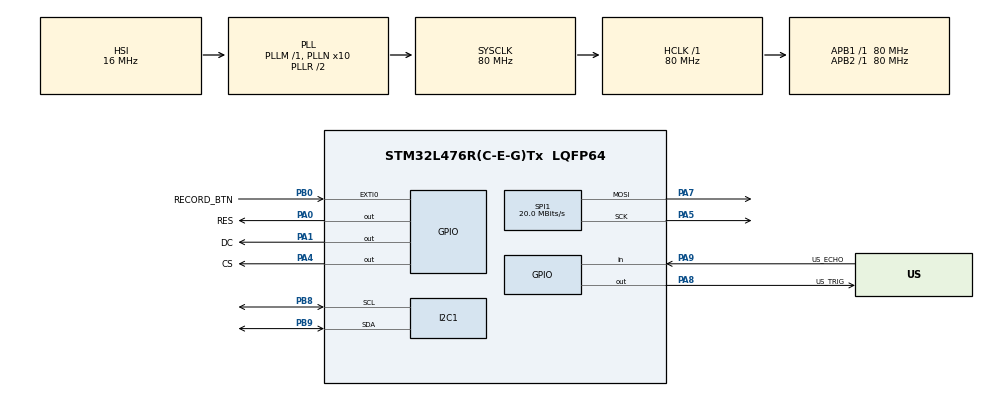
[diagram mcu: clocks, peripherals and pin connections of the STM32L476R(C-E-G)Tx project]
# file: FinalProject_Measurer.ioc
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I2C1.Timing=0x10D19CE4
Mcu.Family=STM32L4
Mcu.Name=STM32L476R(C-E-G)Tx
Mcu.Package=LQFP64
NVIC.EXTI0_IRQn=true\:0\:0\:false\:false\:true\:true\:true\:true
NVIC.PriorityGroup=NVIC_PRIORITYGROUP_4
PA0.GPIO_Label=RES
PA0.PinState=GPIO_PIN_SET
PA0.Signal=GPIO_Output
PA1.GPIO_Label=DC
PA1.Signal=GPIO_Output
PA4.GPIO_Label=CS
PA4.PinState=GPIO_PIN_SET
PA4.Signal=GPIO_Output
PA5.Mode=TX_Only_Simplex_Unidirect_Master
PA5.Signal=SPI1_SCK
PA7.Mode=TX_Only_Simplex_Unidirect_Master
PA7.Signal=SPI1_MOSI
PA8.GPIO_Label=US_TRIG
PA8.GPIO_PuPd=GPIO_NOPULL
PA8.Signal=GPIO_Output
PA9.GPIO_Label=US_ECHO
PA9.GPIO_PuPd=GPIO_NOPULL
PA9.Signal=GPIO_Input
PB0.GPIO_Label=RECORD_BTN
PB0.GPIO_ModeDefaultEXTI=GPIO_MODE_IT_FALLING
PB0.GPIO_PuPd=GPIO_PULLUP
PB0.Signal=GPXTI0
PB8.GPIO_Pu=GPIO_PULLUP
PB8.Mode=I2C
PB8.Signal=I2C1_SCL
PB9.GPIO_Pu=GPIO_PULLUP
PB9.Mode=I2C
PB9.Signal=I2C1_SDA
ProjectManager.HeapSize=0x200
ProjectManager.StackSize=0x400
ProjectManager.TargetToolchain=STM32CubeIDE
RCC.ADCFreq_Value=64000000
RCC.AHBFreq_Value=80000000
RCC.APB1Freq_Value=80000000
RCC.APB1TimFreq_Value=80000000
RCC.APB2Freq_Value=80000000
RCC.APB2TimFreq_Value=80000000
RCC.CortexFreq_Value=80000000
RCC.HCLKFreq_Value=80000000
RCC.HSE_VALUE=8000000
RCC.HSI_VALUE=16000000
RCC.LSE_VALUE=32768
RCC.MSI_VALUE=4000000
RCC.PLLN=10
RCC.PLLSourceVirtual=RCC_PLLSOURCE_HSI
RCC.PREFETCH_ENABLE=1
RCC.SYSCLKFreq_VALUE=80000000
RCC.SYSCLKSource=RCC_SYSCLKSOURCE_PLLCLK
RCC.USBFreq_Value=64000000
RCC.VCOOutputFreq_Value=160000000
SPI1.BaudRatePrescaler=SPI_BAUDRATEPRESCALER_4
SPI1.CalculateBaudRate=20.0 MBits/s
SPI1.DataSize=SPI_DATASIZE_8BIT
SPI1.Direction=SPI_DIRECTION_2LINES
SPI1.Mode=SPI_MODE_MASTER
SPI1.VirtualType=VM_MASTER
TIM4.Prescaler=79
VP_TIM4_VS_ClockSourceINT.Mode=Internal
board=NUCLEO-L476RG

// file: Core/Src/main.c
/* USER CODE BEGIN Header */
/**
 ******************************************************************************
 * @file           : main.c
 * @brief          : Main program body
 ******************************************************************************
 * @attention
 *
 * Copyright (c) 2026 STMicroelectronics.
 * All rights reserved.
 *
 * This software is licensed under terms that can be found in the LICENSE file
 * in the root directory of this software component.
 * If no LICENSE file comes with this software, it is provided AS-IS.
 *
 ******************************************************************************
 */
/* USER CODE END Header */
#include "main.h"

/* USER CODE BEGIN Includes */

#include <stdio.h>
#include "font.h"
#include <string.h>

/* USER CODE END Includes */

/* USER CODE BEGIN PM */

// Display dimensions
#define NUMROWS 160
#define NUMCOLS 128
// Common 16-bit RGB colors: bbbbb gggggg rrrrr
#define BLACK 0x0000 // 00000 000000 00000
#define WHITE 0xFFFF // 11111 111111 11111 (red + green + blue)
#define RED 0x001F // 00000 000000 11111
#define GREEN 0x07E0 // 00000 111111 00000
#define BLUE 0xF800 // 11111 000000 00000
#define CYAN 0xFFE0 // 11111 111111 00000 (green + blue)
#define MAGENTA 0xF81F // 11111 000000 11111 (red + blue)
#define YELLOW 0x07FF // 00000 111111 11111 (red + green)
#define ORANGE 0x041F // 00000 100000 11111 (red + 50% green)
#define PURPLE 0x8010 // 10000 000000 10000 (50% red + 50% blue)
#define GRAY 0x8410 // 10000 100000 10000 (50% red + 50% green + 50% blue)
#define LIGHTGRAY 0xC618 // 11000 110000 11000 (75% red + 75% green + 75% blue)
#define DARKGRAY 0x4208 // 01000 010000 01000 (25% red + 25% green + 25% blue)

// ST7735 command codes
#define SWRESET 0x01
#define SLPOUT 0x11
#define COLMOD 0x3A
#define MADCTL 0x36
#define DISPON 0x29
#define CASET 0x2A
#define RASET 0x2B
#define RAMWR 0x2C
#define COLOR_MODE_16BIT 0x05
#define MADCTL_DEFAULT 0xC8

/* USER CODE END PM */

I2C_HandleTypeDef hi2c1;

SPI_HandleTypeDef hspi1;

TIM_HandleTypeDef htim4;

/* USER CODE BEGIN PV */

#define TRIG_PIN  US_TRIG_Pin
#define TRIG_PORT US_TRIG_GPIO_Port

#define ECHO_PIN  US_ECHO_Pin
#define ECHO_PORT US_ECHO_GPIO_Port

uint16_t Distance = 0;  // cm
uint16_t Ultrasonic_ReadDistanceCm(void);
uint16_t cursor_x = 0;
uint16_t cursor_y = 0;

volatile uint8_t record_request = 0;

uint16_t recorded_distance = 0;

char record_buffer[16];

char buffer[16];

/* USER CODE END PV */

void SystemClock_Config(void);
static void MX_GPIO_Init(void);
static void MX_I2C1_Init(void);
static void MX_TIM4_Init(void);
static void MX_SPI1_Init(void);
/* USER CODE BEGIN PFP */

void ST7735_WriteData(uint8_t data[], uint16_t size);
void ST7735_WriteCommand(uint8_t cmd);
void ST7735_Init(void);
void ST7735_DrawPixel(uint8_t x, uint8_t y, uint16_t color);
void ST7735_DrawScreen(uint16_t frame[NUMROWS][NUMCOLS]);
void ST7735_UpdateCharCursor(uint16_t x, uint16_t y);
void ST7735_PrintChar(char character);
void ST7735_PrintString(const char *string);
void ST7735_SetAddressWindow(uint16_t xStart, uint16_t yStart, uint16_t xEnd, uint16_t yEnd);
void ST7735_FillScreen(uint16_t color);

void ST7735_DrawCharScaled(char character, uint16_t x, uint16_t y, uint8_t scale);
void ST7735_PrintStringScaled(const char *string, uint16_t x, uint16_t y, uint8_t scale);

/* USER CODE END PFP */

int main(void)
{

  /* MCU Configuration--------------------------------------------------------*/

  /* Reset of all peripherals, Initializes the Flash interface and the Systick. */
  HAL_Init();

  /* Configure the system clock */
  SystemClock_Config();

  /* Initialize all configured peripherals */
  MX_GPIO_Init();
  MX_I2C1_Init();
  MX_TIM4_Init();
  MX_SPI1_Init();
  /* USER CODE BEGIN 2 */

  ST7735_Init();
  ST7735_FillScreen(BLACK);

  for (uint16_t x = 0; x < NUMCOLS; x++)
  {
      ST7735_DrawPixel((uint8_t)x, 106, WHITE);
  }

  HAL_TIM_Base_Start(&htim4);

  HAL_GPIO_WritePin(TRIG_PORT,
                    TRIG_PIN,
                    GPIO_PIN_RESET);

//	HAL_TIM_Base_Start(&htim4);
//	HAL_GPIO_WritePin(TRIG_PORT, TRIG_PIN, GPIO_PIN_RESET); // pull the TRIG pin low
//	HAL_Delay(2000);

  /* USER CODE END 2 */

  /* Infinite loop */
  /* USER CODE BEGIN WHILE */
  while (1)
  {

	  Distance = Ultrasonic_ReadDistanceCm();

	     /*
	      * Clear the entire large-number area.
	      * Four characters at 4× scale fill the 128-pixel width.
	      */
	     ST7735_PrintStringScaled("    ",
	                              0,
	                              25,
	                              4);

	     if (Distance == 0)
	     {
	         snprintf(buffer,
	                  sizeof(buffer),
	                  "---");
	     }
	     else
	     {
	         snprintf(buffer,
	                  sizeof(buffer),
	                  "%u",
	                  (unsigned int)Distance);
	     }

	     /*
	      * Center the number.
	      * Each 4× character is 32 pixels wide.
	      */
	     uint16_t number_width =
	         strlen(buffer) * 32;

	     uint16_t number_x =
	         (NUMCOLS - number_width) / 2;

	     ST7735_PrintStringScaled(buffer,
	                              number_x,
	                              25,
	                              4);

	     /*
	      * Display the unit below the large number.
	      * "cm" at 2× scale is 32 pixels wide.
	      */
	     ST7735_PrintStringScaled("cm",
	                              48,
	                              65,
	                              2);

	     if (record_request == 1)
	     {
	         record_request = 0;

	         recorded_distance = Distance;

	         if (recorded_distance == 0)
	         {
	             snprintf(record_buffer,
	                      sizeof(record_buffer),
	                      "--- cm");
	         }
	         else
	         {
	             snprintf(record_buffer,
	                      sizeof(record_buffer),
	                      "%3u cm",
	                      (unsigned int)recorded_distance);
	         }

	         /*
	          * Clear the saved-measurement area.
	          */
	         ST7735_PrintStringScaled("      ",
	                                  16,
	                                  125,
	                                  2);

	         /*
	          * Display the saved measurement.
	          */
	         ST7735_PrintStringScaled(record_buffer,
	                                  16,
	                                  125,
	                                  2);
	     }

	     HAL_Delay(100);

//	  Distance = Ultrasonic_ReadDistanceCm();
//
//	     LCD_SetCursor(0, 0);
//	     LCD_Print("                ");
//
//	     LCD_SetCursor(0, 0);
//
//	     if (Distance == 0)
//	     {
//	         LCD_Print("No echo");
//	     }
//	     else
//	     {
//	         snprintf(buffer,
//	                  sizeof(buffer),
//	                  "%u cm",
//	                  Distance);
//
//	         LCD_Print(buffer);
//	     }

	     HAL_Delay(100);

    /* USER CODE END WHILE */

  }
}

void SystemClock_Config(void)
{
  RCC_OscInitTypeDef RCC_OscInitStruct = {0};
  RCC_ClkInitTypeDef RCC_ClkInitStruct = {0};

  /** Configure the main internal regulator output voltage
  */
  if (HAL_PWREx_ControlVoltageScaling(PWR_REGULATOR_VOLTAGE_SCALE1) != HAL_OK)
  {
    Error_Handler();
  }

  /** Initializes the RCC Oscillators according to the specified parameters
  * in the RCC_OscInitTypeDef structure.
  */
  RCC_OscInitStruct.OscillatorType = RCC_OSCILLATORTYPE_HSI;
  RCC_OscInitStruct.HSIState = RCC_HSI_ON;
  RCC_OscInitStruct.HSICalibrationValue = RCC_HSICALIBRATION_DEFAULT;
  RCC_OscInitStruct.PLL.PLLState = RCC_PLL_ON;
  RCC_OscInitStruct.PLL.PLLSource = RCC_PLLSOURCE_HSI;
  RCC_OscInitStruct.PLL.PLLM = 1;
  RCC_OscInitStruct.PLL.PLLN = 10;
  RCC_OscInitStruct.PLL.PLLP = RCC_PLLP_DIV7;
  RCC_OscInitStruct.PLL.PLLQ = RCC_PLLQ_DIV2;
  RCC_OscInitStruct.PLL.PLLR = RCC_PLLR_DIV2;
  if (HAL_RCC_OscConfig(&RCC_OscInitStruct) != HAL_OK)
  {
    Error_Handler();
  }

  /** Initializes the CPU, AHB and APB buses clocks
  */
  RCC_ClkInitStruct.ClockType = RCC_CLOCKTYPE_HCLK|RCC_CLOCKTYPE_SYSCLK
                              |RCC_CLOCKTYPE_PCLK1|RCC_CLOCKTYPE_PCLK2;
  RCC_ClkInitStruct.SYSCLKSource = RCC_SYSCLKSOURCE_PLLCLK;
  RCC_ClkInitStruct.AHBCLKDivider = RCC_SYSCLK_DIV1;
  RCC_ClkInitStruct.APB1CLKDivider = RCC_HCLK_DIV1;
  RCC_ClkInitStruct.APB2CLKDivider = RCC_HCLK_DIV1;

  if (HAL_RCC_ClockConfig(&RCC_ClkInitStruct, FLASH_LATENCY_4) != HAL_OK)
  {
    Error_Handler();
  }
}

static void MX_I2C1_Init(void)
{

  hi2c1.Instance = I2C1;
  hi2c1.Init.Timing = 0x10D19CE4;
  hi2c1.Init.OwnAddress1 = 0;
  hi2c1.Init.AddressingMode = I2C_ADDRESSINGMODE_7BIT;
  hi2c1.Init.DualAddressMode = I2C_DUALADDRESS_DISABLE;
  hi2c1.Init.OwnAddress2 = 0;
  hi2c1.Init.OwnAddress2Masks = I2C_OA2_NOMASK;
  hi2c1.Init.GeneralCallMode = I2C_GENERALCALL_DISABLE;
  hi2c1.Init.NoStretchMode = I2C_NOSTRETCH_DISABLE;
  if (HAL_I2C_Init(&hi2c1) != HAL_OK)
  {
    Error_Handler();
  }

  /** Configure Analogue filter
  */
  if (HAL_I2CEx_ConfigAnalogFilter(&hi2c1, I2C_ANALOGFILTER_ENABLE) != HAL_OK)
  {
    Error_Handler();
  }

  /** Configure Digital filter
  */
  if (HAL_I2CEx_ConfigDigitalFilter(&hi2c1, 0) != HAL_OK)
  {
    Error_Handler();
  }

}

static void MX_SPI1_Init(void)
{

  /* SPI1 parameter configuration*/
  hspi1.Instance = SPI1;
  hspi1.Init.Mode = SPI_MODE_MASTER;
  hspi1.Init.Direction = SPI_DIRECTION_2LINES;
  hspi1.Init.DataSize = SPI_DATASIZE_8BIT;
  hspi1.Init.CLKPolarity = SPI_POLARITY_LOW;
  hspi1.Init.CLKPhase = SPI_PHASE_1EDGE;
  hspi1.Init.NSS = SPI_NSS_SOFT;
  hspi1.Init.BaudRatePrescaler = SPI_BAUDRATEPRESCALER_4;
  hspi1.Init.FirstBit = SPI_FIRSTBIT_MSB;
  hspi1.Init.TIMode = SPI_TIMODE_DISABLE;
  hspi1.Init.CRCCalculation = SPI_CRCCALCULATION_DISABLE;
  hspi1.Init.CRCPolynomial = 7;
  hspi1.Init.CRCLength = SPI_CRC_LENGTH_DATASIZE;
  hspi1.Init.NSSPMode = SPI_NSS_PULSE_ENABLE;
  if (HAL_SPI_Init(&hspi1) != HAL_OK)
  {
    Error_Handler();
  }

}

static void MX_TIM4_Init(void)
{

  TIM_ClockConfigTypeDef sClockSourceConfig = {0};
  TIM_MasterConfigTypeDef sMasterConfig = {0};

  htim4.Instance = TIM4;
  htim4.Init.Prescaler = 79;
  htim4.Init.CounterMode = TIM_COUNTERMODE_UP;
  htim4.Init.Period = 65535;
  htim4.Init.ClockDivision = TIM_CLOCKDIVISION_DIV1;
  htim4.Init.AutoReloadPreload = TIM_AUTORELOAD_PRELOAD_DISABLE;
  if (HAL_TIM_Base_Init(&htim4) != HAL_OK)
  {
    Error_Handler();
  }
  sClockSourceConfig.ClockSource = TIM_CLOCKSOURCE_INTERNAL;
  if (HAL_TIM_ConfigClockSource(&htim4, &sClockSourceConfig) != HAL_OK)
  {
    Error_Handler();
  }
  sMasterConfig.MasterOutputTrigger = TIM_TRGO_RESET;
  sMasterConfig.MasterSlaveMode = TIM_MASTERSLAVEMODE_DISABLE;
  if (HAL_TIMEx_MasterConfigSynchronization(&htim4, &sMasterConfig) != HAL_OK)
  {
    Error_Handler();
  }

}

static void MX_GPIO_Init(void)
{
  GPIO_InitTypeDef GPIO_InitStruct = {0};

  /* GPIO Ports Clock Enable */
  __HAL_RCC_GPIOA_CLK_ENABLE();
  __HAL_RCC_GPIOB_CLK_ENABLE();

  /*Configure GPIO pin Output Level */
  HAL_GPIO_WritePin(GPIOA, RES_Pin|CS_Pin, GPIO_PIN_SET);

  /*Configure GPIO pin Output Level */
  HAL_GPIO_WritePin(GPIOA, DC_Pin|US_TRIG_Pin, GPIO_PIN_RESET);

  /*Configure GPIO pins : RES_Pin DC_Pin CS_Pin US_TRIG_Pin */
  GPIO_InitStruct.Pin = RES_Pin|DC_Pin|CS_Pin|US_TRIG_Pin;
  GPIO_InitStruct.Mode = GPIO_MODE_OUTPUT_PP;
  GPIO_InitStruct.Pull = GPIO_NOPULL;
  GPIO_InitStruct.Speed = GPIO_SPEED_FREQ_LOW;
  HAL_GPIO_Init(GPIOA, &GPIO_InitStruct);

  /*Configure GPIO pin : RECORD_BTN_Pin */
  GPIO_InitStruct.Pin = RECORD_BTN_Pin;
  GPIO_InitStruct.Mode = GPIO_MODE_IT_FALLING;
  GPIO_InitStruct.Pull = GPIO_PULLUP;
  HAL_GPIO_Init(RECORD_BTN_GPIO_Port, &GPIO_InitStruct);

  /*Configure GPIO pin : US_ECHO_Pin */
  GPIO_InitStruct.Pin = US_ECHO_Pin;
  GPIO_InitStruct.Mode = GPIO_MODE_INPUT;
  GPIO_InitStruct.Pull = GPIO_NOPULL;
  HAL_GPIO_Init(US_ECHO_GPIO_Port, &GPIO_InitStruct);

  /* EXTI interrupt init*/
  HAL_NVIC_SetPriority(EXTI0_IRQn, 0, 0);
  HAL_NVIC_EnableIRQ(EXTI0_IRQn);

}

/* USER CODE BEGIN 4 */

void ST7735_WriteData(uint8_t data[], uint16_t size)
{
    HAL_GPIO_WritePin(DC_GPIO_Port,
                      DC_Pin,
                      GPIO_PIN_SET);

    HAL_GPIO_WritePin(CS_GPIO_Port,
                      CS_Pin,
                      GPIO_PIN_RESET);

    HAL_SPI_Transmit(&hspi1,
                     data,
                     size,
                     HAL_MAX_DELAY);

    HAL_GPIO_WritePin(CS_GPIO_Port,
                      CS_Pin,
                      GPIO_PIN_SET);
}

void ST7735_WriteCommand(uint8_t cmd)
{
    HAL_GPIO_WritePin(DC_GPIO_Port,
                      DC_Pin,
                      GPIO_PIN_RESET);

    HAL_GPIO_WritePin(CS_GPIO_Port,
                      CS_Pin,
                      GPIO_PIN_RESET);

    HAL_SPI_Transmit(&hspi1,
                     &cmd,
                     1,
                     HAL_MAX_DELAY);

    HAL_GPIO_WritePin(CS_GPIO_Port,
                      CS_Pin,
                      GPIO_PIN_SET);
}

void ST7735_Init(void)
{
    uint8_t data;

    HAL_GPIO_WritePin(CS_GPIO_Port,
                      CS_Pin,
                      GPIO_PIN_SET);

    HAL_GPIO_WritePin(RES_GPIO_Port,
                      RES_Pin,
                      GPIO_PIN_RESET);

    HAL_Delay(5);

    HAL_GPIO_WritePin(RES_GPIO_Port,
                      RES_Pin,
                      GPIO_PIN_SET);

    HAL_Delay(5);

    ST7735_WriteCommand(SWRESET);
    HAL_Delay(150);

    ST7735_WriteCommand(SLPOUT);
    HAL_Delay(150);

    ST7735_WriteCommand(COLMOD);

    data = COLOR_MODE_16BIT;
    ST7735_WriteData(&data, 1);

    ST7735_WriteCommand(MADCTL);

    data = MADCTL_DEFAULT;
    ST7735_WriteData(&data, 1);

    ST7735_WriteCommand(DISPON);
    HAL_Delay(10);
}

void ST7735_SetAddressWindow(uint16_t xStart,
                             uint16_t yStart,
                             uint16_t xEnd,
                             uint16_t yEnd)
{
    uint8_t address[4];

    if (xStart > xEnd ||
        yStart > yEnd ||
        xEnd >= NUMCOLS ||
        yEnd >= NUMROWS)
    {
        return;
    }

    xStart += 2;
    xEnd   += 2;
    yStart += 1;
    yEnd   += 1;

    ST7735_WriteCommand(CASET);

    address[0] = xStart >> 8;
    address[1] = xStart & 0xFF;
    address[2] = xEnd >> 8;
    address[3] = xEnd & 0xFF;

    ST7735_WriteData(address, 4);

    ST7735_WriteCommand(RASET);

    address[0] = yStart >> 8;
    address[1] = yStart & 0xFF;
    address[2] = yEnd >> 8;
    address[3] = yEnd & 0xFF;

    ST7735_WriteData(address, 4);

    ST7735_WriteCommand(RAMWR);
}

void ST7735_DrawPixel(uint8_t x,
                      uint8_t y,
                      uint16_t color)
{
    uint8_t pixelData[2];

    if (x >= NUMCOLS || y >= NUMROWS)
    {
        return;
    }

    ST7735_SetAddressWindow(x, y, x, y);

    pixelData[0] = color >> 8;
    pixelData[1] = color & 0xFF;

    ST7735_WriteData(pixelData, 2);
}

void ST7735_FillScreen(uint16_t color)
{
    uint8_t row_data[NUMCOLS * 2];

    for (uint16_t x = 0; x < NUMCOLS; x++)
    {
        row_data[2 * x]     = color >> 8;
        row_data[2 * x + 1] = color & 0xFF;
    }

    ST7735_SetAddressWindow(0, 0, NUMCOLS - 1, NUMROWS - 1);

    HAL_GPIO_WritePin(DC_GPIO_Port, DC_Pin, GPIO_PIN_SET);
    HAL_GPIO_WritePin(CS_GPIO_Port, CS_Pin, GPIO_PIN_RESET);

    for (uint16_t y = 0; y < NUMROWS; y++)
    {
        HAL_SPI_Transmit(&hspi1,
                         row_data,
                         sizeof(row_data),
                         HAL_MAX_DELAY);
    }

    HAL_GPIO_WritePin(CS_GPIO_Port, CS_Pin, GPIO_PIN_SET);
}

void ST7735_UpdateCharCursor(uint16_t x,
                             uint16_t y)
{
    cursor_x = x;
    cursor_y = y;

    if (cursor_x > NUMCOLS - 8)
    {
        cursor_x = 0;
        cursor_y += 8;
    }

    if (cursor_y > NUMROWS - 9)
    {
        cursor_x = 0;
        cursor_y = 0;
    }
}

void ST7735_PrintChar(char character)
{
    if (character < ' ' || character > '~')
    {
        return;
    }

    int font_index = character - 0x20;
    const uint8_t *character_data = fontTable[font_index];

    uint8_t pixel_data[8 * 8 * 2];
    uint16_t index = 0;

    for (int row = 0; row < 8; row++)
    {
        uint8_t row_data = character_data[row];

        for (int col = 7; col >= 0; col--)
        {
            uint16_t color;

            if (row_data & (1 << col))
            {
                color = WHITE;
            }
            else
            {
                color = BLACK;
            }

            pixel_data[index++] = color >> 8;
            pixel_data[index++] = color & 0xFF;
        }
    }

    ST7735_SetAddressWindow(cursor_x,
                            cursor_y,
                            cursor_x + 7,
                            cursor_y + 7);

    ST7735_WriteData(pixel_data, sizeof(pixel_data));

    ST7735_UpdateCharCursor(cursor_x + 8, cursor_y);
}

void ST7735_PrintString(const char *string)
{
    while (*string != '\0')
    {
        ST7735_PrintChar(*string);
        string++;
    }
}

void ST7735_DrawCharScaled(char character,
                           uint16_t x,
                           uint16_t y,
                           uint8_t scale)
{
    if (character < ' ' || character > '~')
    {
        return;
    }

    if (scale == 0)
    {
        return;
    }

    if (scale > 4)
    {
        scale = 4;
    }

    uint16_t width = 8 * scale;
    uint16_t height = 8 * scale;

    if ((x + width > NUMCOLS) ||
        (y + height > NUMROWS))
    {
        return;
    }

    const uint8_t *character_data =
        fontTable[character - 0x20];

    /*
     * Maximum row size:
     * 8 source pixels × 4 scale × 2 color bytes
     */
    uint8_t row_buffer[8 * 4 * 2];

    ST7735_SetAddressWindow(x,
                            y,
                            x + width - 1,
                            y + height - 1);

    /*
     * Keep CS low while sending the entire character.
     */
    HAL_GPIO_WritePin(DC_GPIO_Port,
                      DC_Pin,
                      GPIO_PIN_SET);

    HAL_GPIO_WritePin(CS_GPIO_Port,
                      CS_Pin,
                      GPIO_PIN_RESET);

    for (int row = 0; row < 8; row++)
    {
        uint8_t source_row = character_data[row];

        for (int repeat_y = 0; repeat_y < scale; repeat_y++)
        {
            uint16_t index = 0;

            for (int col = 7; col >= 0; col--)
            {
                uint16_t color;

                if (source_row & (1U << col))
                {
                    color = WHITE;
                }
                else
                {
                    color = BLACK;
                }

                for (int repeat_x = 0; repeat_x < scale; repeat_x++)
                {
                    row_buffer[index++] = color >> 8;
                    row_buffer[index++] = color & 0xFF;
                }
            }

            HAL_SPI_Transmit(&hspi1,
                             row_buffer,
                             index,
                             HAL_MAX_DELAY);
        }
    }

    HAL_GPIO_WritePin(CS_GPIO_Port,
                      CS_Pin,
                      GPIO_PIN_SET);
}

void ST7735_PrintStringScaled(const char *string,
                              uint16_t x,
                              uint16_t y,
                              uint8_t scale)
{
    if (scale == 0)
    {
        return;
    }

    if (scale > 4)
    {
        scale = 4;
    }

    while ((*string != '\0') &&
           (x + (8 * scale) <= NUMCOLS))
    {
        ST7735_DrawCharScaled(*string,
                              x,
                              y,
                              scale);

        x += 8 * scale;
        string++;
    }
}

uint16_t Ultrasonic_ReadDistanceCm(void)
{
    uint32_t wait_start;
    uint32_t echo_start;
    uint32_t echo_time;

    /*
     * Send a 10-microsecond trigger pulse.
     */
    HAL_GPIO_WritePin(TRIG_PORT,
                      TRIG_PIN,
                      GPIO_PIN_RESET);

    __HAL_TIM_SET_COUNTER(&htim4, 0);

    HAL_GPIO_WritePin(TRIG_PORT,
                      TRIG_PIN,
                      GPIO_PIN_SET);

    while (__HAL_TIM_GET_COUNTER(&htim4) < 10)
    {
        /* Wait 10 microseconds */
    }

    HAL_GPIO_WritePin(TRIG_PORT,
                      TRIG_PIN,
                      GPIO_PIN_RESET);

    /*
     * Wait for Echo to become high.
     */
    wait_start = HAL_GetTick();

    while (HAL_GPIO_ReadPin(ECHO_PORT,
                            ECHO_PIN) == GPIO_PIN_RESET)
    {
        if ((HAL_GetTick() - wait_start) >= 50)
        {
            return 0;
        }
    }

    /*
     * Measure how long Echo remains high.
     */
    echo_start = __HAL_TIM_GET_COUNTER(&htim4);

    wait_start = HAL_GetTick();

    while (HAL_GPIO_ReadPin(ECHO_PORT,
                            ECHO_PIN) == GPIO_PIN_SET)
    {
        if ((HAL_GetTick() - wait_start) >= 50)
        {
            return 0;
        }
    }

    echo_time =
        __HAL_TIM_GET_COUNTER(&htim4) - echo_start;

    /*
     * Timer is running at 1 microsecond per count.
     * Distance in centimeters = echo time / 58.
     */
    return (uint16_t)((echo_time + 29) / 58);
}

void HAL_GPIO_EXTI_Callback(uint16_t GPIO_Pin)
{
    static uint32_t last_button_tick = 0;
    uint32_t current_tick = HAL_GetTick();

    if (GPIO_Pin == RECORD_BTN_Pin)
    {
        /*
         * Ignore button bounce for 200 ms.
         */
        if ((current_tick - last_button_tick) >= 200)
        {
            record_request = 1;
            last_button_tick = current_tick;
        }
    }
}
//
//
//void LCD_WriteNibble(uint8_t nibble, uint8_t rs)
//{
//    uint8_t data;
//
//    data = (nibble & 0x0F) << LCD_D4_BIT;
//    data |= (rs & 0x01) << LCD_RS_BIT;
//    data |= 1 << LCD_BL_BIT;
//    data |= 1 << LCD_EN_BIT;
//
//    HAL_I2C_Master_Transmit(&hi2c1,
//                            I2C_ADDR << 1,
//                            &data,
//                            1,
//                            100);
//
//    HAL_Delay(1);
//
//    data &= ~(1 << LCD_EN_BIT);
//
//    HAL_I2C_Master_Transmit(&hi2c1,
//                            I2C_ADDR << 1,
//                            &data,
//                            1,
//                            100);
//}
//
//void LCD_SendCommand(uint8_t command)
//{
//    LCD_WriteNibble(command >> 4, 0);
//    LCD_WriteNibble(command & 0x0F, 0);
//
//    if (command == 0x01 || command == 0x02)
//    {
//        HAL_Delay(2);
//    }
//}
//
//void LCD_SendData(uint8_t data)
//{
//    LCD_WriteNibble(data >> 4, 1);
//    LCD_WriteNibble(data & 0x0F, 1);
//}
//
//void LCD_Init(void)
//{
//    HAL_Delay(50);
//
//    LCD_WriteNibble(0x03, 0);
//    HAL_Delay(5);
//
//    LCD_WriteNibble(0x03, 0);
//    HAL_Delay(1);
//
//    LCD_WriteNibble(0x03, 0);
//    HAL_Delay(1);
//
//    LCD_WriteNibble(0x02, 0);
//
//    LCD_SendCommand(0x28);
//    LCD_SendCommand(0x0C);
//    LCD_SendCommand(0x06);
//    LCD_SendCommand(0x01);
//
//    HAL_Delay(2);
//}
//
//void LCD_SetCursor(uint8_t row, uint8_t column)
//{
//    uint8_t address;
//
//    if (row == 0)
//        address = 0x00;
//    else
//        address = 0x40;
//
//    LCD_SendCommand(0x80 | (address + column));
//}
//
//void LCD_Print(const char *text)
//{
//    while (*text != '\0')
//    {
//        LCD_SendData(*text);
//        text++;
//    }
//}
//
//void LCD_Clear(void)
//{
//    LCD_SendCommand(0x01);
//    HAL_Delay(2);
//}

/* USER CODE END 4 */

void Error_Handler(void)
{
	__disable_irq();
	while (1) {
	}
}
